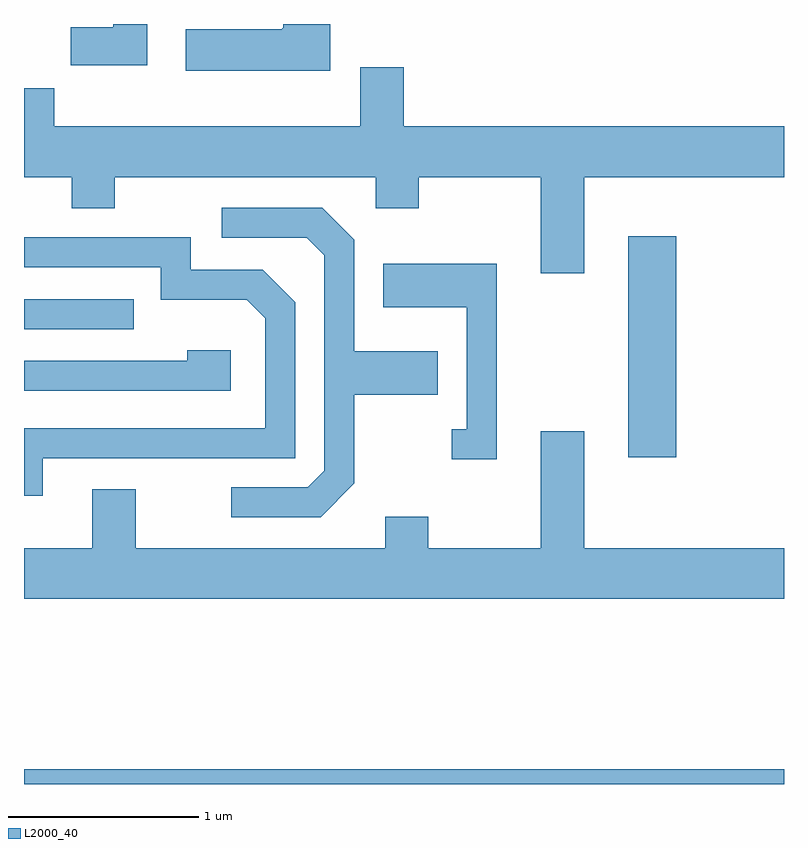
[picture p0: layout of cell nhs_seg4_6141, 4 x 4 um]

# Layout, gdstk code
import gdstk
lib = gdstk.Library(unit=1e-6, precision=1e-09)
def R(c, l, rs):  # rectangles x0, y0, x1, y1
    for r in rs: c.add(gdstk.rectangle(r[:2], r[2:], *l))
def P(c, l, *ps):  # polygons
    for p in ps: c.add(gdstk.Polygon(p, *l))
L2000_40 = (2000, 40)

nhs_seg4_6141 = lib.new_cell('nhs_seg4_6141')
R(nhs_seg4_6141, L2000_40, [(365.611,1295.982,369.611,1296.059), (368.791,1297.701,369.044,1298.864), (365.611,1298.376,366.188,1298.534)])
P(nhs_seg4_6141, L2000_40, [(366.259,1299.982),(366.081,1299.982),(366.081,1299.964),(365.856,1299.964),(365.856,1299.766),(366.259,1299.766)],
  [(367.224,1299.982),(366.976,1299.982),(366.976,1299.96),(366.97,1299.96),(366.97,1299.954),(366.461,1299.954),(366.461,1299.736),(367.224,1299.736)],
  [(368.559,1299.176),(369.611,1299.176),(369.611,1299.444),(367.609,1299.444),(367.609,1299.754),(367.381,1299.754),(367.381,1299.444),(365.769,1299.444),(365.769,1299.644),(365.611,1299.644),(365.611,1299.176),(365.861,1299.176),(365.861,1299.011),(366.089,1299.011),(366.089,1299.176),(367.461,1299.176),(367.461,1299.011),(367.689,1299.011),(367.689,1299.176),(368.331,1299.176),(368.331,1298.671),(368.559,1298.671)],
  [(367.349,1297.564),(367.349,1298.031),(367.789,1298.031),(367.789,1298.259),(367.349,1298.259),(367.349,1298.847),(367.182,1299.014),(366.653,1299.014),(366.653,1298.856),(367.099,1298.856),(367.191,1298.764),(367.191,1297.632),(367.104,1297.544),(366.703,1297.544),(366.703,1297.386),(367.172,1297.386)],
  [(365.709,1297.696),(367.039,1297.696),(367.039,1298.517),(366.867,1298.689),(366.489,1298.689),(366.489,1298.859),(365.611,1298.859),(365.611,1298.701),(366.331,1298.701),(366.331,1298.531),(366.784,1298.531),(366.881,1298.434),(366.881,1297.854),(365.611,1297.854),(365.611,1297.498),(365.709,1297.498)],
  [(368.099,1298.719),(367.501,1298.719),(367.501,1298.491),(367.941,1298.491),(367.941,1297.849),(367.863,1297.849),(367.863,1297.691),(368.099,1297.691)],
  [(366.699,1298.264),(366.471,1298.264),(366.471,1298.209),(365.611,1298.209),(365.611,1298.051),(366.699,1298.051)],
  [(369.611,1297.224),(368.559,1297.224),(368.559,1297.839),(368.331,1297.839),(368.331,1297.224),(367.739,1297.224),(367.739,1297.389),(367.511,1297.389),(367.511,1297.224),(366.199,1297.224),(366.199,1297.534),(365.971,1297.534),(365.971,1297.224),(365.611,1297.224),(365.611,1296.956),(369.611,1296.956)])

lib.write_gds('nhs_seg4_6141.gds')
